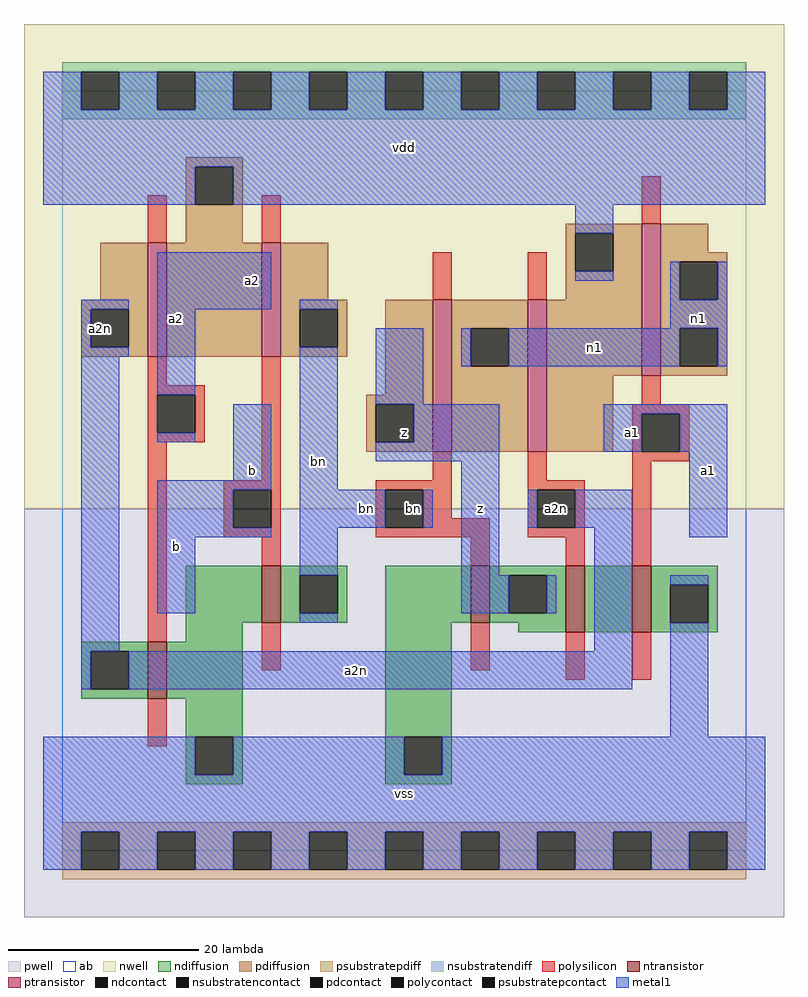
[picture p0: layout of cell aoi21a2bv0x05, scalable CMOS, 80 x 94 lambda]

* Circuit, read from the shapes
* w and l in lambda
.subckt aoi21a2bv0x05 a1 a2 a2n b bn n1 vdd vss z
M1 vss a2 a2n vss nfet w=6 l=2
M2 bn b vss vss nfet w=6 l=2
M3 z bn vss vss nfet w=6 l=2
M4 n2 a2n z vss nfet w=7 l=2
M5 vss a1 n2 vss nfet w=7 l=2
M6 vdd a2 a2n vdd pfet w=12 l=2
M7 bn b vdd vdd pfet w=12 l=2
M8 n1 bn z vdd pfet w=16 l=2
M9 vdd a2n n1 vdd pfet w=16 l=2
M10 n1 a1 vdd vdd pfet w=16 l=2
.ends

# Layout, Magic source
magic
tech scmos
<< ab >>
rect 0 0 72 80
<< pwell >>
rect -4 -7 76 36
<< nwell >>
rect -4 36 76 87
<< polysilicon >>
rect 9 64 11 69
rect 21 64 23 69
rect 61 66 63 71
rect 39 58 41 63
rect 49 58 51 63
rect 9 49 11 52
rect 9 48 15 49
rect 9 44 10 48
rect 14 44 15 48
rect 9 43 15 44
rect 9 22 11 43
rect 21 39 23 52
rect 61 47 63 50
rect 60 46 66 47
rect 60 42 61 46
rect 65 42 66 46
rect 39 39 41 42
rect 17 38 23 39
rect 17 34 18 38
rect 22 34 23 38
rect 17 33 23 34
rect 33 38 41 39
rect 33 34 34 38
rect 38 35 41 38
rect 49 39 51 42
rect 60 41 66 42
rect 49 38 55 39
rect 38 34 45 35
rect 33 33 45 34
rect 49 34 50 38
rect 54 34 55 38
rect 49 33 55 34
rect 21 30 23 33
rect 43 30 45 33
rect 53 30 55 33
rect 60 30 62 41
rect 21 19 23 24
rect 9 11 11 16
rect 43 19 45 24
rect 53 18 55 23
rect 60 18 62 23
<< ndiffusion >>
rect 13 24 21 30
rect 23 29 30 30
rect 23 25 25 29
rect 29 25 30 29
rect 23 24 30 25
rect 34 24 43 30
rect 45 29 53 30
rect 45 25 47 29
rect 51 25 53 29
rect 45 24 53 25
rect 13 22 19 24
rect 2 21 9 22
rect 2 17 3 21
rect 7 17 9 21
rect 2 16 9 17
rect 11 16 19 22
rect 13 12 19 16
rect 13 8 14 12
rect 18 8 19 12
rect 13 7 19 8
rect 34 12 41 24
rect 48 23 53 24
rect 55 23 60 30
rect 62 28 69 30
rect 62 24 64 28
rect 68 24 69 28
rect 62 23 69 24
rect 34 8 36 12
rect 40 8 41 12
rect 34 7 41 8
<< pdiffusion >>
rect 13 72 19 73
rect 13 68 14 72
rect 18 68 19 72
rect 13 64 19 68
rect 53 65 61 66
rect 4 58 9 64
rect 2 57 9 58
rect 2 53 3 57
rect 7 53 9 57
rect 2 52 9 53
rect 11 52 21 64
rect 23 58 28 64
rect 53 61 54 65
rect 58 61 61 65
rect 53 58 61 61
rect 23 57 30 58
rect 23 53 25 57
rect 29 53 30 57
rect 23 52 30 53
rect 34 48 39 58
rect 32 47 39 48
rect 32 43 33 47
rect 37 43 39 47
rect 32 42 39 43
rect 41 55 49 58
rect 41 51 43 55
rect 47 51 49 55
rect 41 42 49 51
rect 51 50 61 58
rect 63 63 68 66
rect 63 62 70 63
rect 63 58 65 62
rect 69 58 70 62
rect 63 55 70 58
rect 63 51 65 55
rect 69 51 70 55
rect 63 50 70 51
rect 51 42 58 50
<< metal1 >>
rect -2 78 2 82
rect 6 78 10 82
rect 14 78 18 82
rect 22 78 26 82
rect 30 78 34 82
rect 38 78 42 82
rect 46 78 50 82
rect 54 78 58 82
rect 62 78 66 82
rect 70 78 74 82
rect -2 72 74 78
rect -2 68 14 72
rect 18 68 74 72
rect 54 65 58 68
rect 2 57 7 58
rect 2 53 3 57
rect 2 52 7 53
rect 10 57 22 63
rect 54 60 58 61
rect 64 58 65 62
rect 69 58 70 62
rect 25 57 29 58
rect 2 21 6 52
rect 10 48 14 57
rect 64 55 70 58
rect 10 43 14 44
rect 18 39 22 47
rect 10 38 22 39
rect 10 34 18 38
rect 10 33 22 34
rect 25 38 29 53
rect 33 47 38 55
rect 42 51 43 55
rect 47 51 65 55
rect 69 51 70 55
rect 37 43 46 47
rect 33 41 46 43
rect 57 46 70 47
rect 57 42 61 46
rect 65 42 70 46
rect 25 34 34 38
rect 38 34 39 38
rect 10 25 14 33
rect 25 29 29 34
rect 42 29 46 41
rect 49 34 50 38
rect 54 34 60 38
rect 42 25 47 29
rect 51 25 52 29
rect 25 24 29 25
rect 56 21 60 34
rect 66 33 70 42
rect 2 17 3 21
rect 7 17 60 21
rect 64 28 68 29
rect 64 12 68 24
rect -2 8 14 12
rect 18 8 36 12
rect 40 8 74 12
rect -2 2 74 8
rect -2 -2 2 2
rect 6 -2 10 2
rect 14 -2 18 2
rect 22 -2 26 2
rect 30 -2 34 2
rect 38 -2 42 2
rect 46 -2 50 2
rect 54 -2 58 2
rect 62 -2 66 2
rect 70 -2 74 2
<< ntransistor >>
rect 21 24 23 30
rect 43 24 45 30
rect 9 16 11 22
rect 53 23 55 30
rect 60 23 62 30
<< ptransistor >>
rect 9 52 11 64
rect 21 52 23 64
rect 39 42 41 58
rect 49 42 51 58
rect 61 50 63 66
<< polycontact >>
rect 10 44 14 48
rect 61 42 65 46
rect 18 34 22 38
rect 34 34 38 38
rect 50 34 54 38
<< ndcontact >>
rect 25 25 29 29
rect 47 25 51 29
rect 3 17 7 21
rect 14 8 18 12
rect 64 24 68 28
rect 36 8 40 12
<< pdcontact >>
rect 14 68 18 72
rect 3 53 7 57
rect 54 61 58 65
rect 25 53 29 57
rect 33 43 37 47
rect 43 51 47 55
rect 65 58 69 62
rect 65 51 69 55
<< psubstratepcontact >>
rect 2 -2 6 2
rect 10 -2 14 2
rect 18 -2 22 2
rect 26 -2 30 2
rect 34 -2 38 2
rect 42 -2 46 2
rect 50 -2 54 2
rect 58 -2 62 2
rect 66 -2 70 2
<< nsubstratencontact >>
rect 2 78 6 82
rect 10 78 14 82
rect 18 78 22 82
rect 26 78 30 82
rect 34 78 38 82
rect 42 78 46 82
rect 50 78 54 82
rect 58 78 62 82
rect 66 78 70 82
<< psubstratepdiff >>
rect 0 2 72 3
rect 0 -2 2 2
rect 6 -2 10 2
rect 14 -2 18 2
rect 22 -2 26 2
rect 30 -2 34 2
rect 38 -2 42 2
rect 46 -2 50 2
rect 54 -2 58 2
rect 62 -2 66 2
rect 70 -2 72 2
rect 0 -3 72 -2
<< nsubstratendiff >>
rect 0 82 72 83
rect 0 78 2 82
rect 6 78 10 82
rect 14 78 18 82
rect 22 78 26 82
rect 30 78 34 82
rect 38 78 42 82
rect 46 78 50 82
rect 54 78 58 82
rect 62 78 66 82
rect 70 78 72 82
rect 0 77 72 78
<< labels >>
rlabel polycontact 37 36 37 36 6 bn
rlabel polycontact 52 36 52 36 6 a2n
rlabel pdcontact 4 55 4 55 6 a2n
rlabel metal1 12 32 12 32 6 b
rlabel metal1 20 40 20 40 6 b
rlabel metal1 12 56 12 56 6 a2
rlabel metal1 20 60 20 60 6 a2
rlabel metal1 36 6 36 6 6 vss
rlabel metal1 32 36 32 36 6 bn
rlabel pdcontact 36 44 36 44 6 z
rlabel metal1 27 41 27 41 6 bn
rlabel metal1 36 74 36 74 6 vdd
rlabel metal1 44 36 44 36 6 z
rlabel metal1 31 19 31 19 6 a2n
rlabel metal1 60 44 60 44 6 a1
rlabel metal1 54 36 54 36 6 a2n
rlabel metal1 68 40 68 40 6 a1
rlabel metal1 56 53 56 53 6 n1
rlabel metal1 67 56 67 56 6 n1
<< end >>
